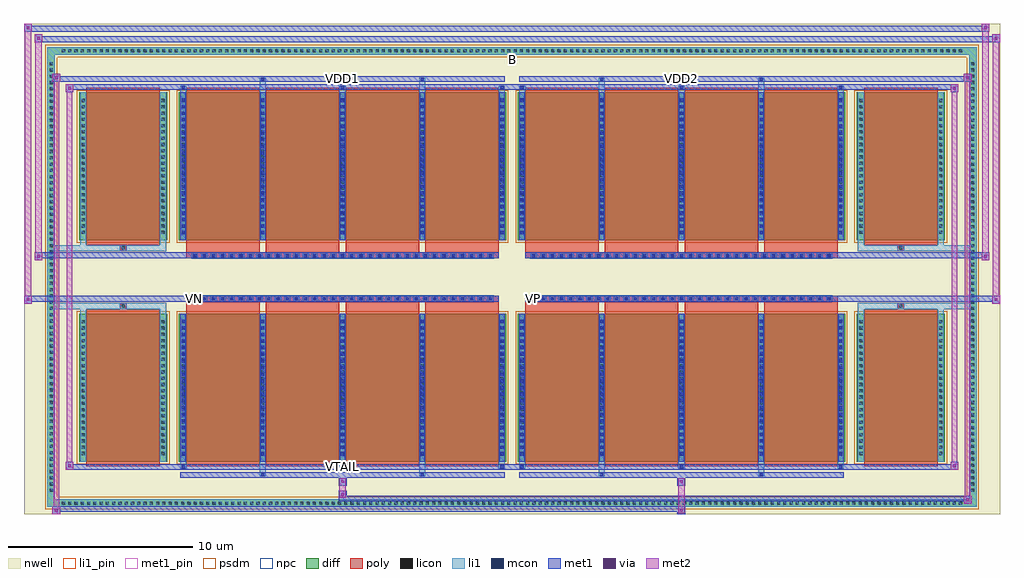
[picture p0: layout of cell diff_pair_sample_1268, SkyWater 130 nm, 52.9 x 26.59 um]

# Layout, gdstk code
import gdstk
lib = gdstk.Library(unit=1e-6, precision=5e-09)
def R(c, l, rs):  # rectangles x0, y0, x1, y1
    for r in rs: c.add(gdstk.rectangle(r[:2], r[2:], *l))
def A(c, l, x, y, w, h, nx, ny, dx, dy):  # array of equal rectangles
    R(c, l, [(x+i*dx, y+j*dy, x+i*dx+w, y+j*dy+h) for i in range(nx) for j in range(ny)])
def P(c, l, *ps):  # polygons
    for p in ps: c.add(gdstk.Polygon(p, *l))
nwell = (64, 20)
diff = (65, 20)
poly = (66, 20)
licon = (66, 44)
li1_pin = (67, 16)
li1 = (67, 20)
mcon = (67, 44)
met1_pin = (68, 16)
met1 = (68, 20)
via = (68, 44)
met2 = (69, 20)
psdm = (94, 20)
npc = (95, 20)

diff_pair_sample_1268 = lib.new_cell('diff_pair_sample_1268')
R(diff_pair_sample_1268, nwell, [(-26.45,-12.86,26.45,13.73), (-23.77,-11.05,-0.01,-0.805), (0.01,-11.05,23.77,-0.805), (-23.77,0.805,-0.01,11.05), (0.01,0.805,23.77,11.05)])
A(diff_pair_sample_1268, diff, -24.515, -12.46, 0.41, 0.41, 144, 2, 0.34, 24.51)
A(diff_pair_sample_1268, diff, -25.18, -11.765, 0.41, 0.41, 1, 69, 0, 0.34)
A(diff_pair_sample_1268, diff, 24.77, -11.765, 0.41, 0.41, 1, 69, 0, 0.34)
R(diff_pair_sample_1268, diff, [(-24.515,-12.46,24.515,-12.05), (-25.18,-11.765,-24.77,11.765), (24.77,-11.765,25.18,11.765), (-23.46,-10.005,-18.69,-1.985), (-18.05,-10.005,-0.32,-1.985), (0.32,-10.005,18.05,-1.985), (18.69,-10.005,23.46,-1.985), (-23.46,1.985,-18.69,10.005), (-18.05,1.985,-0.32,10.005), (0.32,1.985,18.05,10.005), (18.69,1.985,23.46,10.005), (-24.515,12.05,24.515,12.46)])
P(diff_pair_sample_1268, diff, [(25.18,12.46),(-25.18,12.46),(-25.18,-12.05),(-24.77,-12.05),(-24.77,12.05),(24.77,12.05),(24.77,-12.05),(-24.77,-12.05),(-25.18,-12.05),(-25.18,-12.46),(25.18,-12.46)])
A(diff_pair_sample_1268, poly, -17.66, -10.255, 3.99, 8.52, 4, 2, 4.32, 11.99)
A(diff_pair_sample_1268, poly, 0.71, -10.255, 3.99, 8.52, 4, 2, 4.32, 11.99)
A(diff_pair_sample_1268, poly, -17.66, -1.735, 3.99, 0.4, 4, 2, 4.32, 3.07)
A(diff_pair_sample_1268, poly, 0.71, -1.735, 3.99, 0.4, 4, 2, 4.32, 3.07)
A(diff_pair_sample_1268, poly, -17.35, -1.335, 0.33, 0.33, 33, 2, 0.5, 2.34)
A(diff_pair_sample_1268, poly, 1.02, -1.335, 0.33, 0.33, 33, 2, 0.5, 2.34)
R(diff_pair_sample_1268, poly, [(-23.07,-10.255,-19.08,-1.735), (19.08,-10.255,23.07,-1.735), (-21.24,-1.735,-20.91,-1.405), (-21.24,-1.735,-20.91,-1.405), (20.91,-1.735,21.24,-1.405), (20.91,-1.735,21.24,-1.405), (-17.66,-1.335,-0.71,-1.005), (0.71,-1.335,17.66,-1.005), (-17.66,1.005,-0.71,1.335), (0.71,1.005,17.66,1.335), (-21.24,1.405,-20.91,1.735), (-21.24,1.405,-20.91,1.735), (20.91,1.405,21.24,1.735), (20.91,1.405,21.24,1.735), (-23.07,1.735,-19.08,10.255), (19.08,1.735,23.07,10.255)])
A(diff_pair_sample_1268, licon, -24.395, -12.34, 0.17, 0.17, 144, 2, 0.34, 24.51)
A(diff_pair_sample_1268, licon, -25.06, -11.645, 0.17, 0.17, 1, 69, 0, 0.34)
A(diff_pair_sample_1268, licon, 24.89, -11.645, 0.17, 0.17, 1, 69, 0, 0.34)
A(diff_pair_sample_1268, licon, -23.32, -9.65, 0.17, 0.17, 1, 22, 0, 0.34)
A(diff_pair_sample_1268, licon, -19, -9.65, 0.17, 0.17, 1, 22, 0, 0.34)
A(diff_pair_sample_1268, licon, -17.91, -9.65, 0.17, 0.17, 5, 22, 4.32, 0.34)
A(diff_pair_sample_1268, licon, 0.46, -9.65, 0.17, 0.17, 5, 22, 4.32, 0.34)
A(diff_pair_sample_1268, licon, 18.83, -9.65, 0.17, 0.17, 1, 22, 0, 0.34)
A(diff_pair_sample_1268, licon, 23.15, -9.65, 0.17, 0.17, 1, 22, 0, 0.34)
A(diff_pair_sample_1268, licon, -17.27, -1.255, 0.17, 0.17, 33, 2, 0.5, 2.34)
A(diff_pair_sample_1268, licon, 1.1, -1.255, 0.17, 0.17, 33, 2, 0.5, 2.34)
A(diff_pair_sample_1268, licon, -23.32, 2.34, 0.17, 0.17, 1, 22, 0, 0.34)
A(diff_pair_sample_1268, licon, -19, 2.34, 0.17, 0.17, 1, 22, 0, 0.34)
A(diff_pair_sample_1268, licon, -17.91, 2.34, 0.17, 0.17, 5, 22, 4.32, 0.34)
A(diff_pair_sample_1268, licon, 0.46, 2.34, 0.17, 0.17, 5, 22, 4.32, 0.34)
A(diff_pair_sample_1268, licon, 18.83, 2.34, 0.17, 0.17, 1, 22, 0, 0.34)
A(diff_pair_sample_1268, licon, 23.15, 2.34, 0.17, 0.17, 1, 22, 0, 0.34)
R(diff_pair_sample_1268, licon, [(-21.16,-1.655,-20.99,-1.485), (20.99,-1.655,21.16,-1.485), (-21.16,1.485,-20.99,1.655), (20.99,1.485,21.16,1.655)])
R(diff_pair_sample_1268, li1_pin, [(-0.25,11.55,0.25,12.05)])
A(diff_pair_sample_1268, li1, -24.475, -12.42, 0.33, 0.33, 144, 2, 0.34, 24.51)
A(diff_pair_sample_1268, li1, -25.14, -11.725, 0.33, 0.33, 1, 69, 0, 0.34)
A(diff_pair_sample_1268, li1, 24.81, -11.725, 0.33, 0.33, 1, 69, 0, 0.34)
A(diff_pair_sample_1268, li1, -17.99, -10.38, 0.33, 0.375, 3, 2, 8.64, 20.385)
A(diff_pair_sample_1268, li1, -17.91, -10.38, 0.17, 0.17, 3, 2, 8.64, 20.59)
A(diff_pair_sample_1268, li1, 0.38, -10.38, 0.33, 0.375, 3, 2, 8.64, 20.385)
A(diff_pair_sample_1268, li1, 0.46, -10.38, 0.17, 0.17, 3, 2, 8.64, 20.59)
A(diff_pair_sample_1268, li1, -17.99, -10.005, 0.33, 8.02, 5, 2, 4.32, 11.99)
A(diff_pair_sample_1268, li1, 0.38, -10.005, 0.33, 8.02, 5, 2, 4.32, 11.99)
A(diff_pair_sample_1268, li1, -23.4, -9.73, 0.33, 0.33, 1, 22, 0, 0.34)
A(diff_pair_sample_1268, li1, -19.08, -9.73, 0.33, 0.33, 1, 22, 0, 0.34)
A(diff_pair_sample_1268, li1, -17.99, -9.73, 0.33, 0.33, 5, 22, 4.32, 0.34)
A(diff_pair_sample_1268, li1, 0.38, -9.73, 0.33, 0.33, 5, 22, 4.32, 0.34)
A(diff_pair_sample_1268, li1, 18.75, -9.73, 0.33, 0.33, 1, 22, 0, 0.34)
A(diff_pair_sample_1268, li1, 23.07, -9.73, 0.33, 0.33, 1, 22, 0, 0.34)
A(diff_pair_sample_1268, li1, -17.91, -9.68, 0.17, 0.17, 5, 21, 4.32, 0.36)
A(diff_pair_sample_1268, li1, -17.91, -9.68, 0.17, 7.37, 5, 2, 4.32, 11.99)
A(diff_pair_sample_1268, li1, 0.46, -9.68, 0.17, 0.17, 5, 21, 4.32, 0.36)
A(diff_pair_sample_1268, li1, 0.46, -9.68, 0.17, 7.37, 5, 2, 4.32, 11.99)
A(diff_pair_sample_1268, li1, -17.35, -1.335, 0.33, 0.33, 33, 2, 0.5, 2.34)
A(diff_pair_sample_1268, li1, 1.02, -1.335, 0.33, 0.33, 33, 2, 0.5, 2.34)
A(diff_pair_sample_1268, li1, -23.4, 2.26, 0.33, 0.33, 1, 22, 0, 0.34)
A(diff_pair_sample_1268, li1, -19.08, 2.26, 0.33, 0.33, 1, 22, 0, 0.34)
A(diff_pair_sample_1268, li1, -17.99, 2.26, 0.33, 0.33, 5, 22, 4.32, 0.34)
A(diff_pair_sample_1268, li1, 0.38, 2.26, 0.33, 0.33, 5, 22, 4.32, 0.34)
A(diff_pair_sample_1268, li1, 18.75, 2.26, 0.33, 0.33, 1, 22, 0, 0.34)
A(diff_pair_sample_1268, li1, 23.07, 2.26, 0.33, 0.33, 1, 22, 0, 0.34)
A(diff_pair_sample_1268, li1, -17.91, 2.31, 0.17, 0.17, 5, 21, 4.32, 0.36)
A(diff_pair_sample_1268, li1, 0.46, 2.31, 0.17, 0.17, 5, 21, 4.32, 0.36)
R(diff_pair_sample_1268, li1, [(-25.18,-12.46,-24.77,-12.05), (-25.18,-12.46,-24.77,-12.05), (-24.77,-12.46,24.77,-12.05), (24.77,-12.46,25.18,-12.05), (24.77,-12.46,25.18,-12.05), (-25.18,-12.05,-24.77,12.05), (24.77,-12.05,25.18,12.05), (-13.67,-10.81,-13.34,-10.005), (-13.59,-10.81,-13.42,-10.64), (-5.03,-10.81,-4.7,-10.005), (-4.95,-10.81,-4.78,-10.64), (4.7,-10.81,5.03,-10.005), (4.78,-10.81,4.95,-10.64), (13.34,-10.81,13.67,-10.005), (13.42,-10.81,13.59,-10.64), (-23.4,-10.005,-23.07,-1.985), (-19.08,-10.005,-18.75,-1.985), (18.75,-10.005,19.08,-1.985), (23.07,-10.005,23.4,-1.985), (-23.4,-1.985,-23.07,-1.405), (-19.08,-1.985,-18.75,-1.405), (18.75,-1.985,19.08,-1.405), (23.07,-1.985,23.4,-1.405), (-25.18,-1.735,-21.24,-1.405), (-23.4,-1.735,-21.24,-1.405), (-21.24,-1.735,-20.91,-1.405), (-20.91,-1.735,-18.75,-1.405), (18.75,-1.735,20.91,-1.405), (20.91,-1.735,21.24,-1.405), (20.91,-1.735,25.18,-1.405), (21.24,-1.735,23.4,-1.405), (-25.18,1.405,-21.24,1.735), (-23.4,1.405,-21.24,1.735), (-23.4,1.405,-23.07,1.985), (-21.24,1.405,-20.91,1.735), (-20.91,1.405,-18.75,1.735), (-19.08,1.405,-18.75,1.985), (18.75,1.405,20.91,1.735), (18.75,1.405,19.08,1.985), (20.91,1.405,21.24,1.735), (20.91,1.405,25.18,1.735), (21.24,1.405,23.4,1.735), (23.07,1.405,23.4,1.985), (-23.4,1.985,-23.07,10.005), (-19.08,1.985,-18.75,10.005), (18.75,1.985,19.08,10.005), (23.07,1.985,23.4,10.005), (-13.67,10.005,-13.34,10.81), (-5.03,10.005,-4.7,10.81), (4.7,10.005,5.03,10.81), (13.34,10.005,13.67,10.81), (-13.59,10.64,-13.42,10.81), (-4.95,10.64,-4.78,10.81), (4.78,10.64,4.95,10.81), (13.42,10.64,13.59,10.81), (-25.18,12.05,-24.77,12.46), (-25.18,12.05,-24.77,12.46), (-24.77,12.05,24.77,12.46), (24.77,12.05,25.18,12.46), (24.77,12.05,25.18,12.46)])
A(diff_pair_sample_1268, mcon, -17.91, -10.38, 0.17, 0.17, 3, 2, 8.64, 20.59)
A(diff_pair_sample_1268, mcon, 0.46, -10.38, 0.17, 0.17, 3, 2, 8.64, 20.59)
A(diff_pair_sample_1268, mcon, -17.91, -9.68, 0.17, 0.17, 5, 21, 4.32, 0.36)
A(diff_pair_sample_1268, mcon, 0.46, -9.68, 0.17, 0.17, 5, 21, 4.32, 0.36)
A(diff_pair_sample_1268, mcon, -17.27, -1.255, 0.17, 0.17, 33, 2, 0.5, 2.34)
A(diff_pair_sample_1268, mcon, 1.1, -1.255, 0.17, 0.17, 33, 2, 0.5, 2.34)
A(diff_pair_sample_1268, mcon, -17.91, 2.31, 0.17, 0.17, 5, 21, 4.32, 0.36)
A(diff_pair_sample_1268, mcon, 0.46, 2.31, 0.17, 0.17, 5, 21, 4.32, 0.36)
R(diff_pair_sample_1268, mcon, [(-13.59,-10.81,-13.42,-10.64), (-4.95,-10.81,-4.78,-10.64), (4.78,-10.81,4.95,-10.64), (13.42,-10.81,13.59,-10.64), (-13.59,10.64,-13.42,10.81), (-4.95,10.64,-4.78,10.81), (4.78,10.64,4.95,10.81), (13.42,10.64,13.59,10.81)])
R(diff_pair_sample_1268, met1_pin, [(-9.32,-10.42,-9.05,-10.15), (-17.32,-1.295,-17.05,-1.025), (1.05,-1.295,1.32,-1.025), (-9.32,10.6,-9.05,10.87), (9.05,10.6,9.32,10.87)])
A(diff_pair_sample_1268, met1, -17.97, -10.44, 0.29, 0.29, 3, 2, 8.64, 20.59)
A(diff_pair_sample_1268, met1, 0.4, -10.44, 0.29, 0.29, 3, 2, 8.64, 20.59)
A(diff_pair_sample_1268, met1, -17.97, -10.005, 0.29, 8.02, 5, 2, 4.32, 11.99)
A(diff_pair_sample_1268, met1, 0.4, -10.005, 0.29, 8.02, 5, 2, 4.32, 11.99)
A(diff_pair_sample_1268, met1, -17.97, -9.74, 0.29, 0.29, 5, 21, 4.32, 0.36)
A(diff_pair_sample_1268, met1, 0.4, -9.74, 0.29, 0.29, 5, 21, 4.32, 0.36)
A(diff_pair_sample_1268, met1, -17.33, -1.315, 0.29, 0.29, 33, 2, 0.5, 2.34)
A(diff_pair_sample_1268, met1, 1.04, -1.315, 0.29, 0.29, 33, 2, 0.5, 2.34)
A(diff_pair_sample_1268, met1, -17.97, 2.25, 0.29, 0.29, 5, 21, 4.32, 0.36)
A(diff_pair_sample_1268, met1, 0.4, 2.25, 0.29, 0.29, 5, 21, 4.32, 0.36)
R(diff_pair_sample_1268, met1, [(-24.91,-12.86,-24.48,-12.43), (8.97,-12.86,9.4,-12.43), (-24.91,-12.72,9.4,-12.43), (24.48,-12.29,24.91,-11.86), (-9.4,-12.15,24.91,-11.86), (-9.4,-12.01,-8.97,-11.58), (-9.4,-11.3,-8.97,-10.87), (8.97,-11.3,9.4,-10.87), (-17.97,-10.87,-0.4,-10.58), (-13.65,-10.87,-13.36,-10.58), (-5.01,-10.87,-4.72,-10.58), (0.4,-10.87,17.97,-10.58), (4.72,-10.87,5.01,-10.58), (13.36,-10.87,13.65,-10.58), (-24.2,-10.44,-23.77,-10.01), (-24.2,-10.44,-17.97,-10.15), (-17.97,-10.44,-0.4,-10.15), (-0.4,-10.44,0.4,-10.15), (0.4,-10.44,17.97,-10.15), (17.97,-10.44,24.2,-10.15), (23.77,-10.44,24.2,-10.01), (-26.45,-1.435,-26.02,-1.005), (26.02,-1.435,26.45,-1.005), (-26.45,-1.335,-0.71,-1.005), (-17.66,-1.335,-0.71,-1.005), (0.71,-1.335,17.66,-1.005), (0.71,-1.335,26.45,-1.005), (-25.88,0.905,-25.45,1.335), (25.45,0.905,25.88,1.335), (-25.88,1.005,-17.66,1.335), (-17.66,1.005,-0.71,1.335), (0.71,1.005,17.66,1.335), (17.66,1.005,25.88,1.335), (-24.2,10.01,-23.77,10.44), (23.77,10.01,24.2,10.44), (-24.2,10.15,-17.97,10.44), (-17.97,10.15,-0.4,10.44), (-0.4,10.15,0.4,10.44), (0.4,10.15,17.97,10.44), (17.97,10.15,24.2,10.44), (-24.91,10.58,-24.48,11.01), (-24.91,10.58,-17.97,10.87), (-17.97,10.58,-0.4,10.87), (-13.65,10.58,-13.36,10.87), (-5.01,10.58,-4.72,10.87), (0.4,10.58,17.97,10.87), (4.72,10.58,5.01,10.87), (13.36,10.58,13.65,10.87), (17.97,10.58,24.91,10.87), (24.48,10.58,24.91,11.01), (-25.88,12.73,-25.45,13.16), (-25.88,12.73,-23.77,13.06), (-23.77,12.73,23.77,13.06), (23.77,12.73,26.45,13.06), (26.02,12.73,26.45,13.16), (-26.45,13.3,-26.02,13.73), (-26.45,13.3,-23.77,13.63), (-23.77,13.3,23.77,13.63), (23.77,13.3,25.88,13.63), (25.45,13.3,25.88,13.73)])
R(diff_pair_sample_1268, via, [(-24.77,-12.72,-24.62,-12.57), (9.11,-12.72,9.26,-12.57), (24.62,-12.15,24.77,-12), (-9.26,-11.87,-9.11,-11.72), (-9.26,-11.16,-9.11,-11.01), (9.11,-11.16,9.26,-11.01), (-24.06,-10.3,-23.91,-10.15), (23.91,-10.3,24.06,-10.15), (-26.31,-1.295,-26.16,-1.145), (26.16,-1.295,26.31,-1.145), (-25.74,1.045,-25.59,1.195), (25.59,1.045,25.74,1.195), (-24.06,10.15,-23.91,10.3), (23.91,10.15,24.06,10.3), (-24.77,10.72,-24.62,10.87), (24.62,10.72,24.77,10.87), (-25.74,12.87,-25.59,13.02), (26.16,12.87,26.31,13.02), (-26.31,13.44,-26.16,13.59), (25.59,13.44,25.74,13.59)])
R(diff_pair_sample_1268, met2, [(-24.91,-12.86,-24.48,-12.43), (-24.84,-12.86,-24.55,11.01), (-24.55,-12.86,-24.48,-12.43), (-24.86,-12.81,-24.53,-12.48), (9.02,-12.81,9.35,-12.48), (9.02,-12.48,9.35,-11.25), (24.48,-12.29,24.91,-11.86), (24.55,-12.29,24.84,11.01), (24.84,-12.29,24.91,-11.86), (24.53,-12.24,24.86,-11.91), (-9.35,-11.96,-9.02,-11.63), (-9.35,-11.63,-9.02,-11.25), (-9.35,-11.25,-9.02,-10.92), (9.02,-11.25,9.35,-10.92), (-24.2,-10.44,-23.77,-10.01), (-24.13,-10.44,-23.84,10.44), (-23.84,-10.44,-23.77,-10.01), (23.77,-10.44,24.2,-10.01), (23.84,-10.44,24.13,10.44), (24.13,-10.44,24.2,-10.01), (-24.15,-10.39,-23.82,-10.06), (23.82,-10.39,24.15,-10.06), (-26.45,-1.435,-26.02,-1.005), (-26.4,-1.435,-26.07,13.73), (-26.07,-1.435,-26.02,-1.005), (26.02,-1.435,26.45,-1.005), (26.07,-1.435,26.4,13.16), (26.4,-1.435,26.45,-1.005), (-26.4,-1.385,-26.07,-1.055), (26.07,-1.385,26.4,-1.055), (-25.88,0.905,-25.45,1.335), (-25.83,0.905,-25.5,13.16), (-25.5,0.905,-25.45,1.335), (25.45,0.905,25.88,1.335), (25.5,0.905,25.83,13.73), (25.83,0.905,25.88,1.335), (-25.83,0.955,-25.5,1.285), (25.5,0.955,25.83,1.285), (-24.2,10.01,-23.77,10.44), (-23.84,10.01,-23.77,10.44), (23.77,10.01,24.2,10.44), (24.13,10.01,24.2,10.44), (-24.15,10.06,-23.82,10.39), (23.82,10.06,24.15,10.39), (-24.91,10.58,-24.48,11.01), (-24.55,10.58,-24.48,11.01), (24.48,10.58,24.91,11.01), (24.84,10.58,24.91,11.01), (-24.86,10.63,-24.53,10.96), (24.53,10.63,24.86,10.96), (-25.88,12.73,-25.45,13.16), (-25.5,12.73,-25.45,13.16), (26.02,12.73,26.45,13.16), (26.4,12.73,26.45,13.16), (-25.83,12.78,-25.5,13.11), (26.07,12.78,26.4,13.11), (-26.45,13.3,-26.02,13.73), (-26.07,13.3,-26.02,13.73), (25.45,13.3,25.88,13.73), (25.83,13.3,25.88,13.73), (-26.4,13.35,-26.07,13.68), (25.5,13.35,25.83,13.68)])
R(diff_pair_sample_1268, psdm, [(-23.59,-10.135,-18.56,-1.855), (-18.18,-10.135,-0.19,-1.855), (0.19,-10.135,18.18,-1.855), (18.56,-10.135,23.59,-1.855), (-23.59,1.855,-18.56,10.135), (-18.18,1.855,-0.19,10.135), (0.19,1.855,18.18,10.135), (18.56,1.855,23.59,10.135)])
P(diff_pair_sample_1268, psdm, [(25.31,12.59),(-25.31,12.59),(-25.31,-11.92),(-24.64,-11.92),(-24.64,11.92),(24.64,11.92),(24.64,-11.92),(-24.64,-11.92),(-25.31,-11.92),(-25.31,-12.59),(25.31,-12.59)])
A(diff_pair_sample_1268, npc, -17.37, -1.355, 0.37, 0.37, 33, 2, 0.5, 2.34)
A(diff_pair_sample_1268, npc, 1, -1.355, 0.37, 0.37, 33, 2, 0.5, 2.34)
R(diff_pair_sample_1268, npc, [(-21.26,-1.755,-20.89,-1.385), (20.89,-1.755,21.26,-1.385), (-17.37,-1.355,-16.5,-0.985), (-17.37,-1.355,-16.5,-0.985), (-16.87,-1.355,-16,-0.985), (-16.87,-1.355,-16,-0.985), (-16.37,-1.355,-15.5,-0.985), (-16.37,-1.355,-15.5,-0.985), (-15.87,-1.355,-15,-0.985), (-15.87,-1.355,-15,-0.985), (-15.37,-1.355,-14.5,-0.985), (-15.37,-1.355,-14.5,-0.985), (-14.87,-1.355,-14,-0.985), (-14.87,-1.355,-14,-0.985), (-14.37,-1.355,-13.5,-0.985), (-14.37,-1.355,-13.5,-0.985), (-13.87,-1.355,-13,-0.985), (-13.87,-1.355,-13,-0.985), (-13.37,-1.355,-12.5,-0.985), (-13.37,-1.355,-12.5,-0.985), (-12.87,-1.355,-12,-0.985), (-12.87,-1.355,-12,-0.985), (-12.37,-1.355,-11.5,-0.985), (-12.37,-1.355,-11.5,-0.985), (-11.87,-1.355,-11,-0.985), (-11.87,-1.355,-11,-0.985), (-11.37,-1.355,-10.5,-0.985), (-11.37,-1.355,-10.5,-0.985), (-10.87,-1.355,-10,-0.985), (-10.87,-1.355,-10,-0.985), (-10.37,-1.355,-9.5,-0.985), (-10.37,-1.355,-9.5,-0.985), (-9.87,-1.355,-9,-0.985), (-9.87,-1.355,-9,-0.985), (-9.37,-1.355,-8.5,-0.985), (-9.37,-1.355,-8.5,-0.985), (-8.87,-1.355,-8,-0.985), (-8.87,-1.355,-8,-0.985), (-8.37,-1.355,-7.5,-0.985), (-8.37,-1.355,-7.5,-0.985), (-7.87,-1.355,-7,-0.985), (-7.87,-1.355,-7,-0.985), (-7.37,-1.355,-6.5,-0.985), (-7.37,-1.355,-6.5,-0.985), (-6.87,-1.355,-6,-0.985), (-6.87,-1.355,-6,-0.985), (-6.37,-1.355,-5.5,-0.985), (-6.37,-1.355,-5.5,-0.985), (-5.87,-1.355,-5,-0.985), (-5.87,-1.355,-5,-0.985), (-5.37,-1.355,-4.5,-0.985), (-5.37,-1.355,-4.5,-0.985), (-4.87,-1.355,-4,-0.985), (-4.87,-1.355,-4,-0.985), (-4.37,-1.355,-3.5,-0.985), (-4.37,-1.355,-3.5,-0.985), (-3.87,-1.355,-3,-0.985), (-3.87,-1.355,-3,-0.985), (-3.37,-1.355,-2.5,-0.985), (-3.37,-1.355,-2.5,-0.985), (-2.87,-1.355,-2,-0.985), (-2.87,-1.355,-2,-0.985), (-2.37,-1.355,-1.5,-0.985), (-2.37,-1.355,-1.5,-0.985), (-1.87,-1.355,-1,-0.985), (-1.87,-1.355,-1,-0.985), (1,-1.355,1.87,-0.985), (1,-1.355,1.87,-0.985), (1.5,-1.355,2.37,-0.985), (1.5,-1.355,2.37,-0.985), (2,-1.355,2.87,-0.985), (2,-1.355,2.87,-0.985), (2.5,-1.355,3.37,-0.985), (2.5,-1.355,3.37,-0.985), (3,-1.355,3.87,-0.985), (3,-1.355,3.87,-0.985), (3.5,-1.355,4.37,-0.985), (3.5,-1.355,4.37,-0.985), (4,-1.355,4.87,-0.985), (4,-1.355,4.87,-0.985), (4.5,-1.355,5.37,-0.985), (4.5,-1.355,5.37,-0.985), (5,-1.355,5.87,-0.985), (5,-1.355,5.87,-0.985), (5.5,-1.355,6.37,-0.985), (5.5,-1.355,6.37,-0.985), (6,-1.355,6.87,-0.985), (6,-1.355,6.87,-0.985), (6.5,-1.355,7.37,-0.985), (6.5,-1.355,7.37,-0.985), (7,-1.355,7.87,-0.985), (7,-1.355,7.87,-0.985), (7.5,-1.355,8.37,-0.985), (7.5,-1.355,8.37,-0.985), (8,-1.355,8.87,-0.985), (8,-1.355,8.87,-0.985), (8.5,-1.355,9.37,-0.985), (8.5,-1.355,9.37,-0.985), (9,-1.355,9.87,-0.985), (9,-1.355,9.87,-0.985), (9.5,-1.355,10.37,-0.985), (9.5,-1.355,10.37,-0.985), (10,-1.355,10.87,-0.985), (10,-1.355,10.87,-0.985), (10.5,-1.355,11.37,-0.985), (10.5,-1.355,11.37,-0.985), (11,-1.355,11.87,-0.985), (11,-1.355,11.87,-0.985), (11.5,-1.355,12.37,-0.985), (11.5,-1.355,12.37,-0.985), (12,-1.355,12.87,-0.985), (12,-1.355,12.87,-0.985), (12.5,-1.355,13.37,-0.985), (12.5,-1.355,13.37,-0.985), (13,-1.355,13.87,-0.985), (13,-1.355,13.87,-0.985), (13.5,-1.355,14.37,-0.985), (13.5,-1.355,14.37,-0.985), (14,-1.355,14.87,-0.985), (14,-1.355,14.87,-0.985), (14.5,-1.355,15.37,-0.985), (14.5,-1.355,15.37,-0.985), (15,-1.355,15.87,-0.985), (15,-1.355,15.87,-0.985), (15.5,-1.355,16.37,-0.985), (15.5,-1.355,16.37,-0.985), (16,-1.355,16.87,-0.985), (16,-1.355,16.87,-0.985), (16.5,-1.355,17.37,-0.985), (16.5,-1.355,17.37,-0.985), (-17.37,0.985,-16.5,1.355), (-17.37,0.985,-16.5,1.355), (-16.87,0.985,-16,1.355), (-16.87,0.985,-16,1.355), (-16.37,0.985,-15.5,1.355), (-16.37,0.985,-15.5,1.355), (-15.87,0.985,-15,1.355), (-15.87,0.985,-15,1.355), (-15.37,0.985,-14.5,1.355), (-15.37,0.985,-14.5,1.355), (-14.87,0.985,-14,1.355), (-14.87,0.985,-14,1.355), (-14.37,0.985,-13.5,1.355), (-14.37,0.985,-13.5,1.355), (-13.87,0.985,-13,1.355), (-13.87,0.985,-13,1.355), (-13.37,0.985,-12.5,1.355), (-13.37,0.985,-12.5,1.355), (-12.87,0.985,-12,1.355), (-12.87,0.985,-12,1.355), (-12.37,0.985,-11.5,1.355), (-12.37,0.985,-11.5,1.355), (-11.87,0.985,-11,1.355), (-11.87,0.985,-11,1.355), (-11.37,0.985,-10.5,1.355), (-11.37,0.985,-10.5,1.355), (-10.87,0.985,-10,1.355), (-10.87,0.985,-10,1.355), (-10.37,0.985,-9.5,1.355), (-10.37,0.985,-9.5,1.355), (-9.87,0.985,-9,1.355), (-9.87,0.985,-9,1.355), (-9.37,0.985,-8.5,1.355), (-9.37,0.985,-8.5,1.355), (-8.87,0.985,-8,1.355), (-8.87,0.985,-8,1.355), (-8.37,0.985,-7.5,1.355), (-8.37,0.985,-7.5,1.355), (-7.87,0.985,-7,1.355), (-7.87,0.985,-7,1.355), (-7.37,0.985,-6.5,1.355), (-7.37,0.985,-6.5,1.355), (-6.87,0.985,-6,1.355), (-6.87,0.985,-6,1.355), (-6.37,0.985,-5.5,1.355), (-6.37,0.985,-5.5,1.355), (-5.87,0.985,-5,1.355), (-5.87,0.985,-5,1.355), (-5.37,0.985,-4.5,1.355), (-5.37,0.985,-4.5,1.355), (-4.87,0.985,-4,1.355), (-4.87,0.985,-4,1.355), (-4.37,0.985,-3.5,1.355), (-4.37,0.985,-3.5,1.355), (-3.87,0.985,-3,1.355), (-3.87,0.985,-3,1.355), (-3.37,0.985,-2.5,1.355), (-3.37,0.985,-2.5,1.355), (-2.87,0.985,-2,1.355), (-2.87,0.985,-2,1.355), (-2.37,0.985,-1.5,1.355), (-2.37,0.985,-1.5,1.355), (-1.87,0.985,-1,1.355), (-1.87,0.985,-1,1.355), (1,0.985,1.87,1.355), (1,0.985,1.87,1.355), (1.5,0.985,2.37,1.355), (1.5,0.985,2.37,1.355), (2,0.985,2.87,1.355), (2,0.985,2.87,1.355), (2.5,0.985,3.37,1.355), (2.5,0.985,3.37,1.355), (3,0.985,3.87,1.355), (3,0.985,3.87,1.355), (3.5,0.985,4.37,1.355), (3.5,0.985,4.37,1.355), (4,0.985,4.87,1.355), (4,0.985,4.87,1.355), (4.5,0.985,5.37,1.355), (4.5,0.985,5.37,1.355), (5,0.985,5.87,1.355), (5,0.985,5.87,1.355), (5.5,0.985,6.37,1.355), (5.5,0.985,6.37,1.355), (6,0.985,6.87,1.355), (6,0.985,6.87,1.355), (6.5,0.985,7.37,1.355), (6.5,0.985,7.37,1.355), (7,0.985,7.87,1.355), (7,0.985,7.87,1.355), (7.5,0.985,8.37,1.355), (7.5,0.985,8.37,1.355), (8,0.985,8.87,1.355), (8,0.985,8.87,1.355), (8.5,0.985,9.37,1.355), (8.5,0.985,9.37,1.355), (9,0.985,9.87,1.355), (9,0.985,9.87,1.355), (9.5,0.985,10.37,1.355), (9.5,0.985,10.37,1.355), (10,0.985,10.87,1.355), (10,0.985,10.87,1.355), (10.5,0.985,11.37,1.355), (10.5,0.985,11.37,1.355), (11,0.985,11.87,1.355), (11,0.985,11.87,1.355), (11.5,0.985,12.37,1.355), (11.5,0.985,12.37,1.355), (12,0.985,12.87,1.355), (12,0.985,12.87,1.355), (12.5,0.985,13.37,1.355), (12.5,0.985,13.37,1.355), (13,0.985,13.87,1.355), (13,0.985,13.87,1.355), (13.5,0.985,14.37,1.355), (13.5,0.985,14.37,1.355), (14,0.985,14.87,1.355), (14,0.985,14.87,1.355), (14.5,0.985,15.37,1.355), (14.5,0.985,15.37,1.355), (15,0.985,15.87,1.355), (15,0.985,15.87,1.355), (15.5,0.985,16.37,1.355), (15.5,0.985,16.37,1.355), (16,0.985,16.87,1.355), (16,0.985,16.87,1.355), (16.5,0.985,17.37,1.355), (16.5,0.985,17.37,1.355), (-21.26,1.385,-20.89,1.755), (20.89,1.385,21.26,1.755)])
diff_pair_sample_1268.add(gdstk.Label('VTAIL', (-9.185,-10.285), layer=68, texttype=5))
diff_pair_sample_1268.add(gdstk.Label('VN', (-17.185,-1.16), layer=68, texttype=5))
diff_pair_sample_1268.add(gdstk.Label('VP', (1.185,-1.16), layer=68, texttype=5))
diff_pair_sample_1268.add(gdstk.Label('B', (0,11.8), layer=67, texttype=5))
diff_pair_sample_1268.add(gdstk.Label('VDD2', (9.185,10.735), layer=68, texttype=5))
diff_pair_sample_1268.add(gdstk.Label('VDD1', (-9.185,10.735), layer=68, texttype=5))

lib.write_gds('diff_pair_sample_1268.gds')
